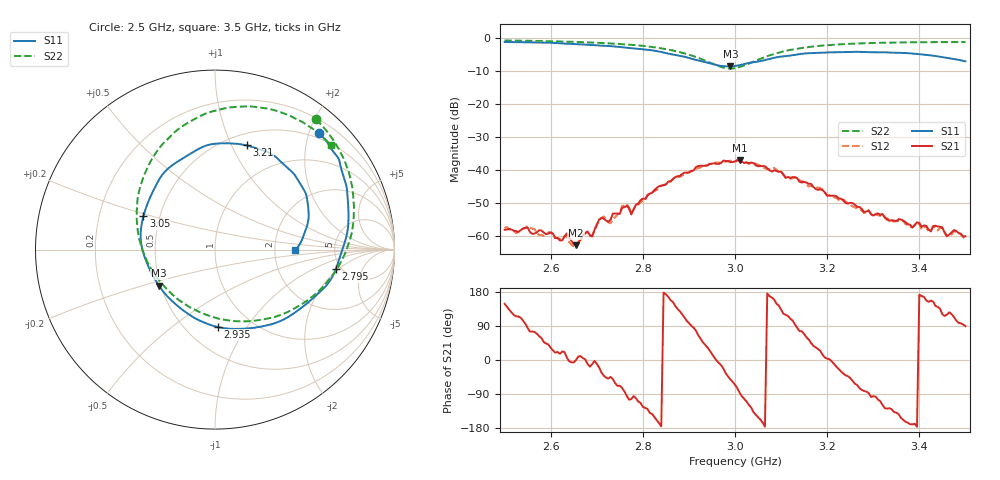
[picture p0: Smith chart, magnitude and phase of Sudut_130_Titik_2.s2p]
# Hz S RI R 50
! CMT, C1220, 16058040, 17.2.0/1
! Date: 15/08/2018 10:49:41
! Data: Format (Calibration Info)
! Freq  S11: Re/Im (F2)  S21: Re/Im (F2)  S12: Re/Im (F2)  S22: Re/Im (F2)
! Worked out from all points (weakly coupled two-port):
!   201 points, 2.5 GHz to 3.5 GHz, reference 50 ohm
!   highest |S21| = -36.95 dB at 3.01 GHz (marker M1); lowest = -62.9 dB at 2.655 GHz (marker M2)
!   lowest |S11| = -8.6 dB at 2.99 GHz (marker M3), VSWR 2.18, Z = 24.5 - j11.4 ohm
!   |S11| at or under -10 dB: nowhere
!   |S22| runs from -9.2 to -0.7 dB; largest |S21 - S12| = 0.00096
!   S11 on the Smith chart (normalised r, x): 2.5 GHz: 0.40, +2.17; 2.795 GHz: 4.49, -1.84; 2.935 GHz: 0.70, -0.75; 3.05 GHz: 0.40, +0.19; 3.21 GHz: 0.62, +1.15; 3.5 GHz: 2.59, -0.03
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2.5e9  0.5808 0.6496  -0.00105 0.00065  -0.00114 0.000659  0.5629 0.7259
2.55e9  0.6374 0.5763  0.000124 0.00133  -2.06e-05 0.00141  0.6191 0.6647
2.62e9  0.7072 0.4365  0.000817 0.000239  0.000859 0.000255  0.6926 0.5545
2.635e9  0.723 0.3866  0.00109 0.000128  0.000996 8.76e-06  0.7069 0.5274
2.655e9  0.7343 0.3411  0.000716 -1.55e-07  0.000724 5.97e-05  0.7247 0.4874
2.67e9  0.7375 0.3102  0.00101 8.86e-05  0.000977 5.14e-05  0.7372 0.4544
2.69e9  0.742 0.2459  0.000962 -0.000186  0.001 -0.000109  0.7513 0.4088
2.715e9  0.744 0.1743  0.00138 -0.00121  0.00148 -0.00129  0.765 0.344
2.73e9  0.7418 0.1319  0.00126 -0.00124  0.00105 -0.00115  0.7696 0.3042
2.755e9  0.723 0.041  0.000737 -0.00255  0.000943 -0.00267  0.7742 0.2304
2.775e9  0.701 -0.0266  -0.000481 -0.00205  -0.000596 -0.00213  0.7715 0.1639
2.795e9  0.6725 -0.1098  -0.00137 -0.0032  -0.0013 -0.00295  0.7618 0.0933
2.835e9  0.5734 -0.246  -0.00551 -0.00132  -0.00527 -0.0014  0.7039 -0.0653
2.935e9  0.0152 -0.4315  0.00885 0.00745  0.00854 0.00786  0.2235 -0.3956
2.99e9  -0.3119 -0.2013  0.00816 -0.0103  0.00872 -0.0106  -0.2127 -0.2725
3e9  -0.3508 -0.1382  0.00562 -0.0122  0.00497 -0.0125  -0.2773 -0.2104
3.01e9  -0.3809 -0.0702  0.000872 -0.0142  0.00088 -0.0135  -0.3338 -0.1422
3.05e9  -0.3989 0.1863  -0.00996 -0.00548  -0.0107 -0.00546  -0.436 0.1717
3.17e9  0.0269 0.5917  0.0044 0.00336  0.00414 0.00374  -0.092 0.7393
3.21e9  0.1773 0.5807  0.00405 -0.000268  0.00402 -0.000546  0.0532 0.7868
3.335e9  0.4658 0.3819  -0.00102 -0.00135  -0.0012 -0.00126  0.3913 0.7562
3.5e9  0.4429 -0.00461  8.86e-06 0.000987  3.75e-06 0.000909  0.6436 0.585
